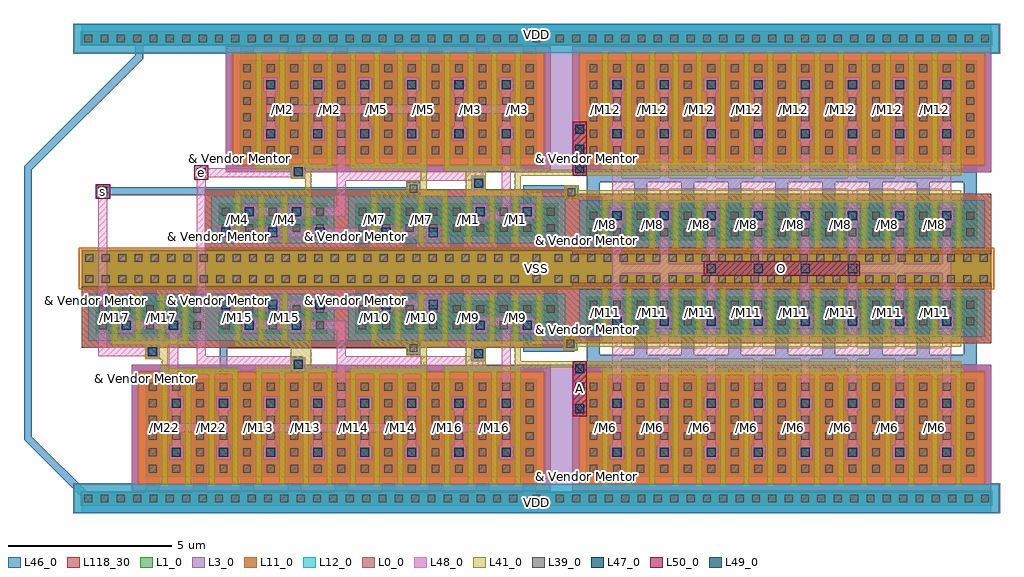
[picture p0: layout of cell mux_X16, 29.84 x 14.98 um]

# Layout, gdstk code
import gdstk
lib = gdstk.Library(unit=1e-6, precision=1e-09)
def R(c, l, rs):  # rectangles x0, y0, x1, y1
    for r in rs: c.add(gdstk.rectangle(r[:2], r[2:], *l))
def A(c, l, x, y, w, h, nx, ny, dx, dy):  # array of equal rectangles
    R(c, l, [(x+i*dx, y+j*dy, x+i*dx+w, y+j*dy+h) for i in range(nx) for j in range(ny)])
def P(c, l, *ps):  # polygons
    for p in ps: c.add(gdstk.Polygon(p, *l))
L0_0 = (0, 0)
L1_0 = (1, 0)
L3_0 = (3, 0)
L11_0 = (11, 0)
L12_0 = (12, 0)
L39_0 = (39, 0)
L41_0 = (41, 0)
L46_0 = (46, 0)
L47_0 = (47, 0)
L48_0 = (48, 0)
L49_0 = (49, 0)
L50_0 = (50, 0)
L118_30 = (118, 30)

m1m2 = lib.new_cell('M1M2')
R(m1m2, L46_0, [(-0.22,-0.22,0.22,0.22)])
R(m1m2, L47_0, [(-0.14,-0.14,0.14,0.14)])
R(m1m2, L48_0, [(-0.22,-0.22,0.22,0.22)])

m2m3 = lib.new_cell('M2M3')
R(m2m3, L48_0, [(-0.22,-0.22,0.22,0.22)])
R(m2m3, L49_0, [(-0.14,-0.14,0.14,0.14)])
R(m2m3, L50_0, [(-0.22,-0.22,0.22,0.22)])

mpoly = lib.new_cell('MPOLY')
R(mpoly, L39_0, [(-0.12,-0.12,0.12,0.12)])
R(mpoly, L41_0, [(-0.22,-0.22,0.22,0.22)])
R(mpoly, L46_0, [(-0.2,-0.2,0.2,0.2)])

mux_x16 = lib.new_cell('mux_X16')
R(mux_x16, L0_0, [(-9.17,-9.36,-4.99,-7.5), (-5.41,-9.36,-1.23,-7.5), (-1.23,-9.36,5.83,-7.5), (5.83,-9.23,18.65,-7.37), (5.83,-6.51,18.65,-4.65), (-5.41,-6.38,-1.23,-4.52), (-1.23,-6.38,5.83,-4.52)])
R(mux_x16, L1_0, [(-9.19,-14.19,18.67,-13.75), (-7.21,-13.31,-6.72,-10.31), (-7.21,-13.31,4.75,-10.31), (4.26,-13.31,4.75,-10.31), (6.26,-13.31,6.75,-10.31), (6.26,-13.31,18.22,-10.31), (17.73,-13.31,18.22,-10.31), (-8.74,-8.93,-8.25,-7.93), (-8.74,-8.93,-5.42,-7.93), (-5.91,-8.93,-5.42,-7.93), (-4.98,-8.93,-4.49,-7.93), (-4.98,-8.93,-1.66,-7.93), (-2.15,-8.93,-1.66,-7.93), (-0.8,-8.93,-0.31,-7.93), (-0.8,-8.93,5.4,-7.93), (4.91,-8.93,5.4,-7.93), (6.26,-8.8,18.22,-7.8), (6.26,-8.8,6.75,-7.8), (17.73,-8.8,18.22,-7.8), (-9.15,-7.48,18.63,-7.04), (-9.15,-7.04,18.63,-6.84), (-9.15,-6.84,18.63,-6.4), (6.26,-6.08,18.22,-5.08), (6.26,-6.08,6.75,-5.08), (17.73,-6.08,18.22,-5.08), (-4.98,-5.95,-4.49,-4.95), (-4.98,-5.95,-1.66,-4.95), (-2.15,-5.95,-1.66,-4.95), (-0.8,-5.95,-0.31,-4.95), (-0.8,-5.95,5.4,-4.95), (4.91,-5.95,5.4,-4.95), (-4.33,-3.57,4.75,-0.57), (-4.33,-3.57,-3.84,-0.57), (4.26,-3.57,4.75,-0.57), (6.26,-3.57,6.75,-0.57), (6.26,-3.57,18.22,-0.57), (17.73,-3.57,18.22,-0.57), (-9.19,-0.13,18.67,0.31)])
R(mux_x16, L3_0, [(-9.43,-14.43,18.91,-13.51), (-7.64,-13.74,5.18,-9.88), (5.18,-13.74,5.83,-9.88), (5.83,-13.74,18.65,-9.88), (-4.76,-4,5.18,-0.14), (5.18,-4,5.83,-0.14), (5.83,-4,18.65,-0.14), (-9.43,-0.37,18.91,0.55)])
R(mux_x16, L11_0, [(-7.43,-13.53,4.97,-10.09), (6.04,-13.53,18.44,-10.09), (-9.25,-7.58,18.73,-6.94), (-9.25,-6.94,18.73,-6.3), (-4.55,-3.79,4.97,-0.35), (6.04,-3.79,18.44,-0.35)])
R(mux_x16, L12_0, [(-9.41,-14.41,18.89,-13.53), (-8.96,-9.15,-5.2,-7.71), (-5.2,-9.15,-1.44,-7.71), (-1.02,-9.15,5.62,-7.71), (6.04,-9.02,18.44,-7.58), (6.04,-6.3,18.44,-4.86), (-5.2,-6.17,-1.44,-4.73), (-1.02,-6.17,5.62,-4.73), (-9.41,-0.35,18.89,0.53)])
A(mux_x16, L39_0, -9.09, -14.09, 0.24, 0.24, 27, 2, 0.5, 14.06)
A(mux_x16, L39_0, 5.33, -14.09, 0.24, 0.24, 27, 2, 0.5, 14.06)
A(mux_x16, L39_0, -7.11, -13.18, 0.24, 0.24, 17, 6, 0.72, 0.5)
A(mux_x16, L39_0, 6.36, -13.18, 0.24, 0.24, 17, 6, 0.72, 0.5)
A(mux_x16, L39_0, -8.64, -8.8, 0.24, 0.24, 5, 2, 0.72, 0.5)
A(mux_x16, L39_0, -4.88, -8.8, 0.24, 0.24, 5, 2, 0.72, 0.5)
A(mux_x16, L39_0, -0.7, -8.8, 0.24, 0.24, 9, 2, 0.72, 0.5)
A(mux_x16, L39_0, 6.36, -8.67, 0.24, 0.24, 17, 2, 0.72, 0.5)
A(mux_x16, L39_0, -9.05, -7.38, 0.24, 0.24, 27, 2, 0.5, 0.64)
A(mux_x16, L39_0, 5.29, -7.38, 0.24, 0.24, 27, 2, 0.5, 0.64)
A(mux_x16, L39_0, 6.36, -5.95, 0.24, 0.24, 17, 2, 0.72, 0.5)
A(mux_x16, L39_0, -4.88, -5.82, 0.24, 0.24, 5, 2, 0.72, 0.5)
A(mux_x16, L39_0, -0.7, -5.82, 0.24, 0.24, 9, 2, 0.72, 0.5)
A(mux_x16, L39_0, -4.23, -3.44, 0.24, 0.24, 13, 6, 0.72, 0.5)
A(mux_x16, L39_0, 6.36, -3.44, 0.24, 0.24, 17, 6, 0.72, 0.5)
R(mux_x16, L39_0, [(4.62,-14.09,4.86,-13.85), (4.62,-7.38,4.86,-7.14), (4.62,-6.74,4.86,-6.5), (4.62,-0.03,4.86,0.21)])
A(mux_x16, L41_0, -6.72, -13.53, 0.18, 0.22, 16, 2, 0.72, 3.22)
A(mux_x16, L41_0, 6.75, -13.53, 0.18, 0.22, 16, 2, 0.72, 3.22)
A(mux_x16, L41_0, -6.72, -13.31, 0.18, 3, 16, 1, 0.72, 0)
A(mux_x16, L41_0, 6.75, -13.31, 0.18, 3, 16, 2, 0.72, 9.74)
A(mux_x16, L41_0, -8.25, -9.15, 0.18, 0.22, 4, 2, 0.72, 1.22)
A(mux_x16, L41_0, -4.49, -9.15, 0.18, 0.22, 4, 2, 0.72, 1.22)
A(mux_x16, L41_0, -0.31, -9.15, 0.18, 0.22, 8, 2, 0.72, 1.22)
A(mux_x16, L41_0, 6.75, -9.02, 0.18, 0.22, 16, 2, 0.72, 1.22)
A(mux_x16, L41_0, -8.25, -8.93, 0.18, 1, 4, 1, 0.72, 0)
A(mux_x16, L41_0, -4.49, -8.93, 0.18, 1, 4, 2, 0.72, 2.98)
A(mux_x16, L41_0, -0.31, -8.93, 0.18, 1, 8, 2, 0.72, 2.98)
A(mux_x16, L41_0, 6.75, -8.8, 0.18, 1, 16, 2, 0.72, 2.72)
A(mux_x16, L41_0, 6.75, -6.3, 0.18, 0.22, 16, 2, 0.72, 1.22)
A(mux_x16, L41_0, -4.49, -6.17, 0.18, 0.22, 4, 2, 0.72, 1.22)
A(mux_x16, L41_0, -0.31, -6.17, 0.18, 0.22, 8, 2, 0.72, 1.22)
A(mux_x16, L41_0, -3.84, -3.79, 0.18, 0.22, 12, 2, 0.72, 3.22)
A(mux_x16, L41_0, 6.75, -3.79, 0.18, 0.22, 16, 2, 0.72, 3.22)
A(mux_x16, L41_0, -3.84, -3.57, 0.18, 3, 12, 1, 0.72, 0)
R(mux_x16, L41_0, [(6.93,-4.75,17.73,-4.55), (6.93,-4.1,17.73,-3.86)])
P(mux_x16, L41_0, [(5.69,-9.33),(17.73,-9.33),(17.73,-8.88),(17.55,-8.88),(17.55,-8.95),(17.01,-8.95),(17.01,-8.88),(16.83,-8.88),(16.83,-8.95),(16.29,-8.95),(16.29,-8.88),(16.11,-8.88),(16.11,-8.95),(15.57,-8.95),(15.57,-8.88),(15.39,-8.88),(15.39,-8.95),(14.85,-8.95),(14.85,-8.88),(14.67,-8.88),(14.67,-8.95),(14.13,-8.95),(14.13,-8.88),(13.95,-8.88),(13.95,-8.95),(13.41,-8.95),(13.41,-8.88),(13.23,-8.88),(13.23,-8.95),(12.69,-8.95),(12.69,-8.88),(12.51,-8.88),(12.51,-8.95),(11.97,-8.95),(11.97,-8.88),(11.79,-8.88),(11.79,-8.95),(11.25,-8.95),(11.25,-8.88),(11.07,-8.88),(11.07,-8.95),(10.53,-8.95),(10.53,-8.88),(10.35,-8.88),(10.35,-8.95),(9.81,-8.95),(9.81,-8.88),(9.63,-8.88),(9.63,-8.95),(9.09,-8.95),(9.09,-8.88),(8.91,-8.88),(8.91,-8.95),(8.37,-8.95),(8.37,-8.88),(8.19,-8.88),(8.19,-8.95),(7.65,-8.95),(7.65,-8.88),(7.47,-8.88),(7.47,-8.95),(6.93,-8.95),(6.93,-8.88),(6.75,-8.88),(6.75,-9.15),(5.69,-9.15)],
  [(6.75,-5),(6.93,-5),(6.93,-4.93),(7.47,-4.93),(7.47,-5),(7.65,-5),(7.65,-4.93),(8.19,-4.93),(8.19,-5),(8.37,-5),(8.37,-4.93),(8.91,-4.93),(8.91,-5),(9.09,-5),(9.09,-4.93),(9.63,-4.93),(9.63,-5),(9.81,-5),(9.81,-4.93),(10.35,-4.93),(10.35,-5),(10.53,-5),(10.53,-4.93),(11.07,-4.93),(11.07,-5),(11.25,-5),(11.25,-4.93),(11.79,-4.93),(11.79,-5),(11.97,-5),(11.97,-4.93),(12.51,-4.93),(12.51,-5),(12.69,-5),(12.69,-4.93),(13.23,-4.93),(13.23,-5),(13.41,-5),(13.41,-4.93),(13.95,-4.93),(13.95,-5),(14.13,-5),(14.13,-4.93),(14.67,-4.93),(14.67,-5),(14.85,-5),(14.85,-4.93),(15.39,-4.93),(15.39,-5),(15.57,-5),(15.57,-4.93),(16.11,-4.93),(16.11,-5),(16.29,-5),(16.29,-4.93),(16.83,-4.93),(16.83,-5),(17.01,-5),(17.01,-4.93),(17.55,-4.93),(17.55,-5),(17.73,-5),(17.73,-4.75),(6.75,-4.75)],
  [(1.92,-10.19),(2.1,-10.19),(2.1,-10.09),(2.64,-10.09),(2.64,-10.19),(2.82,-10.19),(2.82,-10.09),(3.36,-10.09),(3.36,-10.19),(3.54,-10.19),(3.54,-10.09),(4.08,-10.09),(4.08,-10.27),(4.26,-10.27),(4.26,-9.96),(6.75,-9.96),(6.75,-10.27),(6.93,-10.27),(6.93,-10.2),(7.47,-10.2),(7.47,-10.27),(7.65,-10.27),(7.65,-10.2),(8.19,-10.2),(8.19,-10.27),(8.37,-10.27),(8.37,-10.2),(8.91,-10.2),(8.91,-10.27),(9.09,-10.27),(9.09,-10.2),(9.63,-10.2),(9.63,-10.27),(9.81,-10.27),(9.81,-10.2),(10.35,-10.2),(10.35,-10.27),(10.53,-10.27),(10.53,-10.2),(11.07,-10.2),(11.07,-10.27),(11.25,-10.27),(11.25,-10.2),(11.79,-10.2),(11.79,-10.27),(11.97,-10.27),(11.97,-10.2),(12.51,-10.2),(12.51,-10.27),(12.69,-10.27),(12.69,-10.2),(13.23,-10.2),(13.23,-10.27),(13.41,-10.27),(13.41,-10.2),(13.95,-10.2),(13.95,-10.27),(14.13,-10.27),(14.13,-10.2),(14.67,-10.2),(14.67,-10.27),(14.85,-10.27),(14.85,-10.2),(15.39,-10.2),(15.39,-10.27),(15.57,-10.27),(15.57,-10.2),(16.11,-10.2),(16.11,-10.27),(16.29,-10.27),(16.29,-10.2),(16.83,-10.2),(16.83,-10.27),(17.01,-10.27),(17.01,-10.2),(17.55,-10.2),(17.55,-10.27),(17.73,-10.27),(17.73,-9.78),(4.26,-9.78),(4.26,-9.33),(4.91,-9.33),(4.91,-9.05),(4.73,-9.05),(4.73,-9.15),(4.19,-9.15),(4.19,-9.05),(4.08,-9.05),(4.08,-9.91),(3.19,-9.91),(3.19,-9.77),(2.75,-9.77),(2.75,-9.33),(4.08,-9.33),(4.08,-9.05),(4.01,-9.05),(4.01,-9.15),(3.47,-9.15),(3.47,-9.05),(3.29,-9.05),(3.29,-9.15),(2.75,-9.15),(2.75,-9.05),(2.57,-9.05),(2.57,-9.91),(1.92,-9.91)],
  [(6.75,-3.86),(17.73,-3.86),(17.73,-3.61),(17.55,-3.61),(17.55,-3.68),(17.01,-3.68),(17.01,-3.61),(16.83,-3.61),(16.83,-3.68),(16.29,-3.68),(16.29,-3.61),(16.11,-3.61),(16.11,-3.68),(15.57,-3.68),(15.57,-3.61),(15.39,-3.61),(15.39,-3.68),(14.85,-3.68),(14.85,-3.61),(14.67,-3.61),(14.67,-3.68),(14.13,-3.68),(14.13,-3.61),(13.95,-3.61),(13.95,-3.68),(13.41,-3.68),(13.41,-3.61),(13.23,-3.61),(13.23,-3.68),(12.69,-3.68),(12.69,-3.61),(12.51,-3.61),(12.51,-3.68),(11.97,-3.68),(11.97,-3.61),(11.79,-3.61),(11.79,-3.68),(11.25,-3.68),(11.25,-3.61),(11.07,-3.61),(11.07,-3.68),(10.53,-3.68),(10.53,-3.61),(10.35,-3.61),(10.35,-3.68),(9.81,-3.68),(9.81,-3.61),(9.63,-3.61),(9.63,-3.68),(9.09,-3.68),(9.09,-3.61),(8.91,-3.61),(8.91,-3.68),(8.37,-3.68),(8.37,-3.61),(8.19,-3.61),(8.19,-3.68),(7.65,-3.68),(7.65,-3.61),(7.47,-3.61),(7.47,-3.68),(6.93,-3.68),(6.93,-3.61),(6.75,-3.61)],
  [(-0.96,-10.27),(-0.78,-10.27),(-0.78,-10.16),(-0.24,-10.16),(-0.24,-10.27),(-0.06,-10.27),(-0.06,-10.16),(0.48,-10.16),(0.48,-10.27),(0.66,-10.27),(0.66,-10.16),(1.2,-10.16),(1.2,-10.27),(1.38,-10.27),(1.38,-9.33),(2.03,-9.33),(2.03,-9.06),(1.85,-9.06),(1.85,-9.15),(1.31,-9.15),(1.31,-9.06),(1.13,-9.06),(1.13,-9.15),(0.59,-9.15),(0.59,-9.06),(0.41,-9.06),(0.41,-9.15),(-0.13,-9.15),(-0.13,-9.06),(-0.31,-9.06),(-0.31,-9.33),(1.2,-9.33),(1.2,-9.98),(-0.96,-9.98)],
  [(-4.49,-9.33),(-2.77,-9.33),(-2.77,-9.97),(-3.84,-9.97),(-3.84,-10.27),(-3.66,-10.27),(-3.66,-10.15),(-3.12,-10.15),(-3.12,-10.27),(-2.94,-10.27),(-2.94,-10.15),(-2.4,-10.15),(-2.4,-10.27),(-2.22,-10.27),(-2.22,-10.15),(-1.68,-10.15),(-1.68,-10.27),(-1.5,-10.27),(-1.5,-9.97),(-2.15,-9.97),(-2.15,-9.06),(-2.33,-9.06),(-2.33,-9.15),(-2.87,-9.15),(-2.87,-9.06),(-3.05,-9.06),(-3.05,-9.15),(-3.59,-9.15),(-3.59,-9.06),(-3.77,-9.06),(-3.77,-9.15),(-4.31,-9.15),(-4.31,-9.06),(-4.49,-9.06)],
  [(-8.25,-9.27),(-6.78,-9.27),(-6.78,-9.71),(-6.72,-9.71),(-6.72,-10.27),(-6.54,-10.27),(-6.54,-10.17),(-6,-10.17),(-6,-10.27),(-5.82,-10.27),(-5.82,-10.17),(-5.28,-10.17),(-5.28,-10.27),(-5.1,-10.27),(-5.1,-10.17),(-4.56,-10.17),(-4.56,-10.27),(-4.38,-10.27),(-4.38,-9.99),(-6.54,-9.99),(-6.54,-9.27),(-5.91,-9.27),(-5.91,-8.97),(-6.09,-8.97),(-6.09,-9.09),(-6.63,-9.09),(-6.63,-8.97),(-6.81,-8.97),(-6.81,-9.09),(-7.35,-9.09),(-7.35,-8.97),(-7.53,-8.97),(-7.53,-9.09),(-8.07,-9.09),(-8.07,-8.97),(-8.25,-8.97)],
  [(5.69,-4.73),(6.75,-4.73),(6.75,-4.93),(6.93,-4.93),(6.93,-4.55),(5.69,-4.55)],
  [(1.92,-3.97),(2.57,-3.97),(2.57,-4.83),(2.75,-4.83),(2.75,-4.73),(3.29,-4.73),(3.29,-4.83),(3.47,-4.83),(3.47,-4.73),(4.01,-4.73),(4.01,-4.83),(4.19,-4.83),(4.19,-4.73),(4.73,-4.73),(4.73,-4.83),(4.91,-4.83),(4.91,-4.55),(4.26,-4.55),(4.26,-4.1),(6.93,-4.1),(6.93,-3.68),(6.75,-3.68),(6.75,-3.92),(4.26,-3.92),(4.26,-3.61),(4.08,-3.61),(4.08,-4.55),(2.75,-4.55),(2.75,-4.11),(3.19,-4.11),(3.19,-3.97),(4.08,-3.97),(4.08,-3.79),(3.54,-3.79),(3.54,-3.69),(3.36,-3.69),(3.36,-3.79),(2.82,-3.79),(2.82,-3.69),(2.64,-3.69),(2.64,-3.79),(2.1,-3.79),(2.1,-3.69),(1.92,-3.69)],
  [(-4.49,-4.82),(-4.31,-4.82),(-4.31,-4.73),(-3.77,-4.73),(-3.77,-4.82),(-3.59,-4.82),(-3.59,-4.73),(-3.05,-4.73),(-3.05,-4.82),(-2.87,-4.82),(-2.87,-4.73),(-2.33,-4.73),(-2.33,-4.82),(-2.15,-4.82),(-2.15,-3.91),(-1.5,-3.91),(-1.5,-3.61),(-1.68,-3.61),(-1.68,-3.73),(-2.22,-3.73),(-2.22,-3.61),(-2.4,-3.61),(-2.4,-3.73),(-2.94,-3.73),(-2.94,-3.61),(-3.12,-3.61),(-3.12,-3.73),(-3.66,-3.73),(-3.66,-3.61),(-3.84,-3.61),(-3.84,-3.91),(-2.33,-3.91),(-2.33,-4.55),(-4.49,-4.55)],
  [(-0.96,-3.9),(1.2,-3.9),(1.2,-4.55),(-0.31,-4.55),(-0.31,-4.82),(-0.13,-4.82),(-0.13,-4.73),(0.41,-4.73),(0.41,-4.82),(0.59,-4.82),(0.59,-4.73),(1.13,-4.73),(1.13,-4.82),(1.31,-4.82),(1.31,-4.73),(1.85,-4.73),(1.85,-4.82),(2.03,-4.82),(2.03,-4.55),(1.38,-4.55),(1.38,-3.61),(1.2,-3.61),(1.2,-3.72),(0.66,-3.72),(0.66,-3.61),(0.48,-3.61),(0.48,-3.72),(-0.06,-3.72),(-0.06,-3.61),(-0.24,-3.61),(-0.24,-3.72),(-0.78,-3.72),(-0.78,-3.61),(-0.96,-3.61)])
A(mux_x16, L46_0, -7.19, -14.17, 0.4, 1.31, 9, 1, 1.44, 0)
A(mux_x16, L46_0, -7.19, -13.26, 0.4, 2.9, 17, 1, 0.72, 0)
A(mux_x16, L46_0, 6.28, -13.26, 0.4, 2.9, 17, 2, 0.72, 9.74)
A(mux_x16, L46_0, 9.16, -10.76, 0.4, 2.41, 7, 2, 1.44, 5.23)
A(mux_x16, L46_0, -8.72, -8.88, 0.4, 0.9, 5, 1, 0.72, 0)
A(mux_x16, L46_0, -4.96, -8.88, 0.4, 0.9, 5, 2, 0.72, 2.98)
A(mux_x16, L46_0, -0.78, -8.88, 0.4, 0.9, 9, 2, 0.72, 2.98)
A(mux_x16, L46_0, 6.28, -8.75, 0.4, 0.9, 17, 2, 0.72, 2.72)
A(mux_x16, L46_0, -8.72, -8.38, 0.4, 1.28, 3, 1, 1.44, 0)
A(mux_x16, L46_0, -0.78, -8.38, 0.4, 1.28, 5, 2, 1.44, 1.6)
A(mux_x16, L46_0, -4.31, -3.52, 0.4, 2.9, 13, 1, 0.72, 0)
A(mux_x16, L46_0, -4.31, -1.02, 0.4, 1.31, 7, 1, 1.44, 0)
R(mux_x16, L46_0, [(-9.17,-14.43,18.65,-13.77), (-9.17,-14.17,18.65,-13.77), (5.84,-11.01,6.28,-10.8), (6.28,-10.76,6.68,-9.58), (7.72,-10.76,8.12,-9.58), (5.84,-10.36,6.28,-10.22), (6.28,-9.98,18.2,-9.58), (6.28,-9.98,6.68,-8.35), (7.72,-9.98,8.12,-8.35), (-9.17,-7.5,18.65,-7.02), (-9.17,-7.5,18.65,-6.38), (-9.17,-6.86,18.65,-6.38), (6.28,-5.53,6.68,-3.9), (7.72,-5.53,8.12,-3.9), (-8.64,-4.7,1.1,-4.46), (6.28,-4.3,18.2,-3.9), (6.28,-4.3,6.68,-3.12), (7.72,-4.3,8.12,-3.12), (5.84,-3.66,6.28,-3.52), (5.84,-3.08,6.28,-2.9), (-9.17,-0.11,18.65,0.29), (-9.17,-0.11,18.65,0.55)])
P(mux_x16, L46_0, [(-10.93,-12.18),(-8.94,-14.17),(-8.77,-14),(-10.69,-12.08),(-10.69,-3.92),(-7.29,-0.52),(-7.29,0.13),(-7.53,0.13),(-7.53,-0.42),(-10.93,-3.82)],
  [(4.34,-9.49),(5.9,-9.49),(5.9,-9.25),(4.58,-9.25),(4.58,-8.56),(4.34,-8.56)],
  [(-4.95,-10.6),(-4.71,-10.6),(-4.71,-9.38),(0.78,-9.38),(0.78,-9.54),(1.02,-9.54),(1.02,-9.14),(-4.95,-9.14)],
  [(4.34,-5.32),(4.58,-5.32),(4.58,-4.63),(5.9,-4.63),(5.9,-4.39),(4.34,-4.39)])
A(mux_x16, L48_0, 7.06, -12.7, 0.28, 1.78, 8, 2, 1.44, 9.74)
A(mux_x16, L48_0, 7.06, -11.2, 0.28, 2.79, 8, 2, 1.44, 5.73)
A(mux_x16, L48_0, 7.06, -8.69, 0.28, 1.89, 8, 2, 1.44, 1.61)
A(mux_x16, L48_0, 7.06, -7.08, 1.72, 0.28, 7, 1, 1.44, 0)
R(mux_x16, L48_0, [(-6.41,-12.7,-6.13,-11.67), (-4.97,-12.7,-4.69,-11.67), (-6.41,-11.95,-4.69,-11.67), (-6.41,-11.95,-6.13,-10.92), (-4.97,-11.95,-4.69,-10.92), (5.84,-11.01,6.28,-10.8), (5.84,-10.36,6.28,-10.22), (7.06,-9.72,17.42,-9.37), (-7.94,-8.82,-6.22,-8.54), (-4.9,-8.18,1.72,-7.9), (-4.9,-5.98,1.72,-5.7), (7.06,-4.51,17.42,-4.16), (5.84,-3.66,6.28,-3.52), (5.84,-3.08,6.28,-2.9)])
P(mux_x16, L48_0, [(-8.66,-9.63),(-6.8,-9.63),(-6.8,-9.35),(-8.38,-9.35),(-8.38,-4.44),(-8.66,-4.44)],
  [(-5.65,-9.9),(-2.41,-9.9),(-2.41,-9.62),(-5.37,-9.62),(-5.37,-4.15),(-2.41,-4.15),(-2.41,-3.87),(-5.65,-3.87)],
  [(2.88,-8.69),(3.67,-8.69),(3.67,-11.2),(3.95,-11.2),(3.95,-8.69),(4.6,-8.69),(4.6,-8.41),(2.88,-8.41)],
  [(2.23,-12.7),(2.51,-12.7),(2.51,-11.95),(3.67,-11.95),(3.67,-12.7),(3.95,-12.7),(3.95,-10.92),(3.67,-10.92),(3.67,-11.67),(2.51,-11.67),(2.51,-10.92),(2.23,-10.92)],
  [(-4.18,-8.82),(-1.37,-8.82),(-1.37,-11.67),(-1.81,-11.67),(-1.81,-10.92),(-2.09,-10.92),(-2.09,-11.67),(-3.25,-11.67),(-3.25,-10.92),(-3.53,-10.92),(-3.53,-12.7),(-3.25,-12.7),(-3.25,-11.95),(-2.09,-11.95),(-2.09,-12.7),(-1.81,-12.7),(-1.81,-11.95),(-0.65,-11.95),(-0.65,-12.7),(-0.37,-12.7),(-0.37,-11.95),(0.79,-11.95),(0.79,-12.7),(1.07,-12.7),(1.07,-10.92),(0.79,-10.92),(0.79,-11.67),(-0.37,-11.67),(-0.37,-10.92),(-0.65,-10.92),(-0.65,-11.67),(-1.09,-11.67),(-1.09,-9.91),(3.11,-9.91),(3.11,-9.63),(-1.09,-9.63),(-1.09,-8.54),(-4.18,-8.54)],
  [(-6.5,-11.12),(-6.13,-11.12),(-6.13,-10.84),(-6.22,-10.84),(-6.22,-8.54),(-6.5,-8.54)],
  [(2.88,-5.47),(4.6,-5.47),(4.6,-5.19),(3.95,-5.19),(3.95,-2.68),(3.67,-2.68),(3.67,-5.19),(2.88,-5.19)],
  [(2.23,-2.96),(2.51,-2.96),(2.51,-2.21),(3.67,-2.21),(3.67,-2.96),(3.95,-2.96),(3.95,-1.18),(3.67,-1.18),(3.67,-1.93),(2.51,-1.93),(2.51,-1.18),(2.23,-1.18)],
  [(-4.18,-5.34),(-1.09,-5.34),(-1.09,-4.25),(3.11,-4.25),(3.11,-3.97),(-1.09,-3.97),(-1.09,-1.93),(-1.37,-1.93),(-1.37,-5.06),(-4.18,-5.06)],
  [(-3.53,-2.96),(-3.25,-2.96),(-3.25,-2.21),(-2.09,-2.21),(-2.09,-2.96),(-1.81,-2.96),(-1.81,-2.21),(-0.65,-2.21),(-0.65,-2.96),(-0.37,-2.96),(-0.37,-2.21),(0.79,-2.21),(0.79,-2.96),(1.07,-2.96),(1.07,-1.18),(0.79,-1.18),(0.79,-1.93),(-0.37,-1.93),(-0.37,-1.18),(-0.65,-1.18),(-0.65,-1.93),(-1.81,-1.93),(-1.81,-1.18),(-2.09,-1.18),(-2.09,-1.93),(-3.25,-1.93),(-3.25,-1.18),(-3.53,-1.18)])
R(mux_x16, L50_0, [(5.84,-11.45,6.28,-9.78), (5.84,-11.01,6.28,-10.8), (5.84,-10.36,6.28,-10.22), (9.86,-7.16,14.62,-6.72), (-8.74,-4.8,-8.3,-4.36), (-5.73,-4.23,-5.29,-3.79), (5.84,-4.1,6.28,-2.46), (5.84,-3.66,6.28,-3.52), (5.84,-3.08,6.28,-2.9)])
R(mux_x16, L118_30, [(-7.64,-13.74,5.18,-9.88), (5.83,-13.74,18.65,-9.88), (-9.17,-9.36,-4.99,-7.5), (-5.41,-9.36,-1.23,-7.5), (-1.23,-9.36,5.83,-7.5), (5.83,-9.23,18.65,-7.37), (5.83,-6.51,18.65,-4.65), (-5.41,-6.38,-1.23,-4.52), (-1.23,-6.38,5.83,-4.52), (-4.76,-4,5.18,-0.14), (5.83,-4,18.65,-0.14)])
mux_x16.add(gdstk.Reference(m1m2, (11.52,-1.32)))
mux_x16.add(gdstk.Reference(m1m2, (10.08,-1.32)))
mux_x16.add(gdstk.Reference(m1m2, (8.64,-2.82)))
mux_x16.add(gdstk.Reference(m1m2, (8.64,-1.32)))
mux_x16.add(gdstk.Reference(m1m2, (12.96,-1.32)))
mux_x16.add(gdstk.Reference(m1m2, (12.96,-5.33)))
mux_x16.add(gdstk.Reference(m1m2, (17.28,-5.33)))
mux_x16.add(gdstk.Reference(m1m2, (14.4,-5.33)))
mux_x16.add(gdstk.Reference(m1m2, (15.84,-5.33)))
mux_x16.add(gdstk.Reference(m1m2, (10.08,-5.33)))
mux_x16.add(gdstk.Reference(m1m2, (11.52,-5.33)))
mux_x16.add(gdstk.Reference(m2m3, (11.52,-6.94)))
mux_x16.add(gdstk.Reference(m2m3, (12.96,-6.94)))
mux_x16.add(gdstk.Reference(m2m3, (10.08,-6.94)))
mux_x16.add(gdstk.Reference(m2m3, (14.4,-6.94)))
mux_x16.add(gdstk.Reference(m1m2, (14.4,-8.55), x_reflection=True))
mux_x16.add(gdstk.Reference(m1m2, (15.84,-8.55), x_reflection=True))
mux_x16.add(gdstk.Reference(m1m2, (10.08,-8.55), x_reflection=True))
mux_x16.add(gdstk.Reference(m1m2, (12.96,-11.06), x_reflection=True))
mux_x16.add(gdstk.Reference(m1m2, (8.64,-8.55), x_reflection=True))
mux_x16.add(gdstk.Reference(m1m2, (8.64,-5.33)))
mux_x16.add(gdstk.Reference(m1m2, (12.96,-2.82)))
mux_x16.add(gdstk.Reference(m1m2, (17.28,-2.82)))
mux_x16.add(gdstk.Reference(m1m2, (17.28,-1.32)))
mux_x16.add(gdstk.Reference(m1m2, (15.84,-1.32)))
mux_x16.add(gdstk.Reference(m1m2, (14.4,-2.82)))
mux_x16.add(gdstk.Reference(m1m2, (14.4,-1.32)))
mux_x16.add(gdstk.Reference(m1m2, (15.84,-2.82)))
mux_x16.add(gdstk.Reference(m1m2, (10.08,-2.82)))
mux_x16.add(gdstk.Reference(m1m2, (11.52,-2.82)))
mux_x16.add(gdstk.Reference(m1m2, (17.28,-11.06), x_reflection=True))
mux_x16.add(gdstk.Reference(m1m2, (11.52,-11.06), x_reflection=True))
mux_x16.add(gdstk.Reference(m1m2, (11.52,-12.56), x_reflection=True))
mux_x16.add(gdstk.Reference(m1m2, (10.08,-12.56), x_reflection=True))
mux_x16.add(gdstk.Reference(m1m2, (11.52,-8.55), x_reflection=True))
mux_x16.add(gdstk.Reference(m1m2, (8.64,-11.06), x_reflection=True))
mux_x16.add(gdstk.Reference(m1m2, (15.84,-11.06), x_reflection=True))
mux_x16.add(gdstk.Reference(m1m2, (10.08,-11.06), x_reflection=True))
mux_x16.add(gdstk.Reference(m1m2, (17.28,-12.56), x_reflection=True))
mux_x16.add(gdstk.Reference(m1m2, (15.84,-12.56), x_reflection=True))
mux_x16.add(gdstk.Reference(m1m2, (14.4,-11.06), x_reflection=True))
mux_x16.add(gdstk.Reference(m1m2, (14.4,-12.56), x_reflection=True))
mux_x16.add(gdstk.Reference(m1m2, (8.64,-12.56), x_reflection=True))
mux_x16.add(gdstk.Reference(m1m2, (12.96,-12.56), x_reflection=True))
mux_x16.add(gdstk.Reference(m1m2, (17.28,-8.55), x_reflection=True))
mux_x16.add(gdstk.Reference(m1m2, (12.96,-8.55), x_reflection=True))
mux_x16.add(gdstk.Reference(m2m3, (6.06,-10)))
mux_x16.add(gdstk.Reference(m1m2, (6.06,-10.58)))
mux_x16.add(gdstk.Reference(m2m3, (6.06,-10.58)))
mux_x16.add(gdstk.Reference(m1m2, (6.06,-11.23)))
mux_x16.add(gdstk.Reference(mpoly, (5.78,-9.24), x_reflection=True))
mux_x16.add(gdstk.Reference(m1m2, (7.2,-11.06), x_reflection=True))
mux_x16.add(gdstk.Reference(m1m2, (6.06,-10)))
mux_x16.add(gdstk.Reference(m1m2, (7.2,-12.56), x_reflection=True))
mux_x16.add(gdstk.Reference(m2m3, (6.06,-11.23)))
mux_x16.add(gdstk.Reference(m1m2, (7.2,-8.55), x_reflection=True))
mux_x16.add(gdstk.Reference(m1m2, (3.81,-11.06), x_reflection=True))
mux_x16.add(gdstk.Reference(m1m2, (2.37,-12.56), x_reflection=True))
mux_x16.add(gdstk.Reference(m1m2, (4.46,-8.68), x_reflection=True))
mux_x16.add(gdstk.Reference(m1m2, (1.58,-8.04), x_reflection=True))
mux_x16.add(gdstk.Reference(m1m2, (3.81,-12.56), x_reflection=True))
mux_x16.add(gdstk.Reference(m1m2, (3.02,-8.68), x_reflection=True))
mux_x16.add(gdstk.Reference(m1m2, (2.97,-9.55), x_reflection=True))
mux_x16.add(gdstk.Reference(m1m2, (-0.51,-11.06), x_reflection=True))
mux_x16.add(gdstk.Reference(m1m2, (-4.83,-12.56), x_reflection=True))
mux_x16.add(gdstk.Reference(m1m2, (-6.27,-11.06), x_reflection=True))
mux_x16.add(gdstk.Reference(m1m2, (-6.27,-12.56), x_reflection=True))
mux_x16.add(gdstk.Reference(m1m2, (-4.83,-11.06), x_reflection=True))
mux_x16.add(gdstk.Reference(m1m2, (-7.8,-8.68), x_reflection=True))
mux_x16.add(gdstk.Reference(m1m2, (-6.36,-8.68), x_reflection=True))
mux_x16.add(gdstk.Reference(m1m2, (-0.51,-12.56), x_reflection=True))
mux_x16.add(gdstk.Reference(m1m2, (0.93,-12.56), x_reflection=True))
mux_x16.add(gdstk.Reference(m1m2, (-4.76,-8.04), x_reflection=True))
mux_x16.add(gdstk.Reference(m1m2, (0.93,-11.06), x_reflection=True))
mux_x16.add(gdstk.Reference(m1m2, (2.37,-11.06), x_reflection=True))
mux_x16.add(gdstk.Reference(m1m2, (-2.6,-8.68), x_reflection=True))
mux_x16.add(gdstk.Reference(m1m2, (-4.04,-8.68), x_reflection=True))
mux_x16.add(gdstk.Reference(m1m2, (0.14,-8.04), x_reflection=True))
mux_x16.add(gdstk.Reference(m1m2, (-1.88,-8.04), x_reflection=True))
mux_x16.add(gdstk.Reference(m1m2, (-3.32,-8.04), x_reflection=True))
mux_x16.add(gdstk.Reference(m1m2, (-7,-9.49)))
mux_x16.add(gdstk.Reference(m1m2, (-1.95,-12.56), x_reflection=True))
mux_x16.add(gdstk.Reference(m1m2, (-3.39,-12.56), x_reflection=True))
mux_x16.add(gdstk.Reference(m1m2, (-3.39,-11.06), x_reflection=True))
mux_x16.add(gdstk.Reference(m1m2, (-1.95,-11.06), x_reflection=True))
mux_x16.add(gdstk.Reference(m1m2, (2.97,-9.55), x_reflection=True))
mux_x16.add(gdstk.Reference(mpoly, (2.97,-9.55), x_reflection=True))
mux_x16.add(gdstk.Reference(mpoly, (-2.55,-9.87), x_reflection=True))
mux_x16.add(gdstk.Reference(mpoly, (-7,-9.49)))
mux_x16.add(gdstk.Reference(m1m2, (-2.55,-9.87)))
mux_x16.add(gdstk.Reference(mpoly, (0.98,-9.37)))
mux_x16.add(gdstk.Reference(m1m2, (-3.32,-5.84)))
mux_x16.add(gdstk.Reference(m1m2, (7.2,-5.33)))
mux_x16.add(gdstk.Reference(m1m2, (3.02,-5.2)))
mux_x16.add(gdstk.Reference(m1m2, (7.2,-2.82)))
mux_x16.add(gdstk.Reference(m1m2, (2.97,-4.33)))
mux_x16.add(gdstk.Reference(m1m2, (4.46,-5.2)))
mux_x16.add(gdstk.Reference(m1m2, (7.2,-1.32)))
mux_x16.add(gdstk.Reference(m1m2, (2.97,-4.33)))
mux_x16.add(gdstk.Reference(mpoly, (2.97,-4.33)))
mux_x16.add(gdstk.Reference(mpoly, (5.81,-4.61)))
mux_x16.add(gdstk.Reference(m1m2, (-1.95,-1.32)))
mux_x16.add(gdstk.Reference(m1m2, (-3.39,-1.32)))
mux_x16.add(gdstk.Reference(m1m2, (-3.39,-2.82)))
mux_x16.add(gdstk.Reference(m1m2, (-1.95,-2.82)))
mux_x16.add(gdstk.Reference(m1m2, (-0.51,-2.82)))
mux_x16.add(gdstk.Reference(m1m2, (-4.76,-5.84)))
mux_x16.add(gdstk.Reference(m1m2, (0.93,-2.82)))
mux_x16.add(gdstk.Reference(mpoly, (-2.55,-3.98)))
mux_x16.add(gdstk.Reference(m1m2, (-2.6,-5.2)))
mux_x16.add(gdstk.Reference(m1m2, (-4.04,-5.2)))
mux_x16.add(gdstk.Reference(m1m2, (1.58,-5.84)))
mux_x16.add(gdstk.Reference(m1m2, (6.06,-3.88)))
mux_x16.add(gdstk.Reference(m2m3, (6.06,-3.88)))
mux_x16.add(gdstk.Reference(m1m2, (6.06,-3.3)))
mux_x16.add(gdstk.Reference(m2m3, (6.06,-3.3)))
mux_x16.add(gdstk.Reference(m1m2, (6.06,-2.68)))
mux_x16.add(gdstk.Reference(m2m3, (6.06,-2.68)))
mux_x16.add(gdstk.Reference(m1m2, (0.14,-5.84)))
mux_x16.add(gdstk.Reference(m1m2, (-1.88,-5.84)))
mux_x16.add(gdstk.Reference(m1m2, (3.81,-1.32)))
mux_x16.add(gdstk.Reference(m1m2, (-0.51,-1.32)))
mux_x16.add(gdstk.Reference(m1m2, (0.93,-1.32)))
mux_x16.add(gdstk.Reference(m1m2, (2.37,-2.82)))
mux_x16.add(gdstk.Reference(m1m2, (3.81,-2.82)))
mux_x16.add(gdstk.Reference(m1m2, (2.37,-1.32)))
mux_x16.add(gdstk.Reference(mpoly, (0.98,-4.5)))
mux_x16.add(gdstk.Reference(m1m2, (-8.52,-4.58)))
mux_x16.add(gdstk.Reference(m1m2, (-2.55,-3.98)))
mux_x16.add(gdstk.Reference(m2m3, (-5.51,-4.01)))
mux_x16.add(gdstk.Reference(m2m3, (-8.52,-4.58)))
mux_x16.add(gdstk.Label('/M2', (-3.03,-2.07), layer=85, texttype=0))
mux_x16.add(gdstk.Label('/M2', (-3.75,-2.07), layer=85, texttype=0))
mux_x16.add(gdstk.Label('/M2', (-2.31,-2.07), layer=85, texttype=0))
mux_x16.add(gdstk.Label('/M2', (-1.59,-2.07), layer=85, texttype=0))
mux_x16.add(gdstk.Label('/M5', (-0.87,-2.07), layer=85, texttype=0))
mux_x16.add(gdstk.Label('/M5', (-0.15,-2.07), layer=85, texttype=0))
mux_x16.add(gdstk.Label('/M5', (0.57,-2.07), layer=85, texttype=0))
mux_x16.add(gdstk.Label('/M5', (1.29,-2.07), layer=85, texttype=0))
mux_x16.add(gdstk.Label('/M3', (2.01,-2.07), layer=85, texttype=0))
mux_x16.add(gdstk.Label('/M3', (2.73,-2.07), layer=85, texttype=0))
mux_x16.add(gdstk.Label('/M3', (3.45,-2.07), layer=85, texttype=0))
mux_x16.add(gdstk.Label('/M3', (4.17,-2.07), layer=85, texttype=0))
mux_x16.add(gdstk.Label('& Vendor Mentor', (-4.33,-3.57), layer=63, texttype=63))
mux_x16.add(gdstk.Label('& Product UMC180FDKMFM', (-4.33,-3.57), layer=63, texttype=63))
mux_x16.add(gdstk.Label('& Version A01', (-4.33,-3.57), layer=63, texttype=63))
mux_x16.add(gdstk.Label('& Metric 0', (-4.33,-3.57), layer=63, texttype=63))
mux_x16.add(gdstk.Label('& _PublicCode', (-4.33,-3.57), layer=63, texttype=63))
mux_x16.add(gdstk.Label('/M12', (6.84,-2.07), layer=85, texttype=0))
mux_x16.add(gdstk.Label('/M12', (7.56,-2.07), layer=85, texttype=0))
mux_x16.add(gdstk.Label('/M12', (8.28,-2.07), layer=85, texttype=0))
mux_x16.add(gdstk.Label('/M12', (9,-2.07), layer=85, texttype=0))
mux_x16.add(gdstk.Label('/M12', (9.72,-2.07), layer=85, texttype=0))
mux_x16.add(gdstk.Label('/M12', (10.44,-2.07), layer=85, texttype=0))
mux_x16.add(gdstk.Label('/M12', (11.16,-2.07), layer=85, texttype=0))
mux_x16.add(gdstk.Label('/M12', (11.88,-2.07), layer=85, texttype=0))
mux_x16.add(gdstk.Label('/M12', (12.6,-2.07), layer=85, texttype=0))
mux_x16.add(gdstk.Label('/M12', (13.32,-2.07), layer=85, texttype=0))
mux_x16.add(gdstk.Label('/M12', (14.04,-2.07), layer=85, texttype=0))
mux_x16.add(gdstk.Label('/M12', (14.76,-2.07), layer=85, texttype=0))
mux_x16.add(gdstk.Label('/M12', (15.48,-2.07), layer=85, texttype=0))
mux_x16.add(gdstk.Label('/M12', (16.2,-2.07), layer=85, texttype=0))
mux_x16.add(gdstk.Label('/M12', (16.92,-2.07), layer=85, texttype=0))
mux_x16.add(gdstk.Label('/M12', (17.64,-2.07), layer=85, texttype=0))
mux_x16.add(gdstk.Label('& Vendor Mentor', (6.26,-3.57), layer=63, texttype=63))
mux_x16.add(gdstk.Label('& Product UMC180FDKMFM', (6.26,-3.57), layer=63, texttype=63))
mux_x16.add(gdstk.Label('& Version A01', (6.26,-3.57), layer=63, texttype=63))
mux_x16.add(gdstk.Label('& Metric 0', (6.26,-3.57), layer=63, texttype=63))
mux_x16.add(gdstk.Label('& _PublicCode', (6.26,-3.57), layer=63, texttype=63))
mux_x16.add(gdstk.Label('/M11', (6.84,-8.3), layer=85, texttype=0))
mux_x16.add(gdstk.Label('/M11', (7.56,-8.3), layer=85, texttype=0))
mux_x16.add(gdstk.Label('/M11', (8.28,-8.3), layer=85, texttype=0))
mux_x16.add(gdstk.Label('/M11', (9,-8.3), layer=85, texttype=0))
mux_x16.add(gdstk.Label('/M11', (9.72,-8.3), layer=85, texttype=0))
mux_x16.add(gdstk.Label('/M11', (10.44,-8.3), layer=85, texttype=0))
mux_x16.add(gdstk.Label('/M11', (11.16,-8.3), layer=85, texttype=0))
mux_x16.add(gdstk.Label('/M11', (11.88,-8.3), layer=85, texttype=0))
mux_x16.add(gdstk.Label('/M11', (12.6,-8.3), layer=85, texttype=0))
mux_x16.add(gdstk.Label('/M11', (13.32,-8.3), layer=85, texttype=0))
mux_x16.add(gdstk.Label('/M11', (14.04,-8.3), layer=85, texttype=0))
mux_x16.add(gdstk.Label('/M11', (14.76,-8.3), layer=85, texttype=0))
mux_x16.add(gdstk.Label('/M11', (15.48,-8.3), layer=85, texttype=0))
mux_x16.add(gdstk.Label('/M11', (16.2,-8.3), layer=85, texttype=0))
mux_x16.add(gdstk.Label('/M11', (16.92,-8.3), layer=85, texttype=0))
mux_x16.add(gdstk.Label('/M11', (17.64,-8.3), layer=85, texttype=0))
mux_x16.add(gdstk.Label('& Vendor Mentor', (6.26,-8.8), layer=63, texttype=63))
mux_x16.add(gdstk.Label('& Product UMC180FDKMFM', (6.26,-8.8), layer=63, texttype=63))
mux_x16.add(gdstk.Label('& Version A01', (6.26,-8.8), layer=63, texttype=63))
mux_x16.add(gdstk.Label('& Metric 0', (6.26,-8.8), layer=63, texttype=63))
mux_x16.add(gdstk.Label('& _PublicCode', (6.26,-8.8), layer=63, texttype=63))
mux_x16.add(gdstk.Label('/M8', (8.28,-5.58), layer=85, texttype=0))
mux_x16.add(gdstk.Label('/M8', (7.56,-5.58), layer=85, texttype=0))
mux_x16.add(gdstk.Label('/M8', (6.84,-5.58), layer=85, texttype=0))
mux_x16.add(gdstk.Label('/M8', (9,-5.58), layer=85, texttype=0))
mux_x16.add(gdstk.Label('/M8', (9.72,-5.58), layer=85, texttype=0))
mux_x16.add(gdstk.Label('/M8', (10.44,-5.58), layer=85, texttype=0))
mux_x16.add(gdstk.Label('/M8', (11.16,-5.58), layer=85, texttype=0))
mux_x16.add(gdstk.Label('/M8', (11.88,-5.58), layer=85, texttype=0))
mux_x16.add(gdstk.Label('/M8', (12.6,-5.58), layer=85, texttype=0))
mux_x16.add(gdstk.Label('/M8', (13.32,-5.58), layer=85, texttype=0))
mux_x16.add(gdstk.Label('/M8', (14.04,-5.58), layer=85, texttype=0))
mux_x16.add(gdstk.Label('/M8', (14.76,-5.58), layer=85, texttype=0))
mux_x16.add(gdstk.Label('/M8', (15.48,-5.58), layer=85, texttype=0))
mux_x16.add(gdstk.Label('/M8', (16.2,-5.58), layer=85, texttype=0))
mux_x16.add(gdstk.Label('/M8', (16.92,-5.58), layer=85, texttype=0))
mux_x16.add(gdstk.Label('/M8', (17.64,-5.58), layer=85, texttype=0))
mux_x16.add(gdstk.Label('& Vendor Mentor', (6.26,-6.08), layer=63, texttype=63))
mux_x16.add(gdstk.Label('& Product UMC180FDKMFM', (6.26,-6.08), layer=63, texttype=63))
mux_x16.add(gdstk.Label('& Version A01', (6.26,-6.08), layer=63, texttype=63))
mux_x16.add(gdstk.Label('& Metric 0', (6.26,-6.08), layer=63, texttype=63))
mux_x16.add(gdstk.Label('& _PublicCode', (6.26,-6.08), layer=63, texttype=63))
mux_x16.add(gdstk.Label('/M6', (6.84,-11.81), layer=85, texttype=0))
mux_x16.add(gdstk.Label('/M6', (7.56,-11.81), layer=85, texttype=0))
mux_x16.add(gdstk.Label('/M6', (8.28,-11.81), layer=85, texttype=0))
mux_x16.add(gdstk.Label('/M6', (9,-11.81), layer=85, texttype=0))
mux_x16.add(gdstk.Label('/M6', (9.72,-11.81), layer=85, texttype=0))
mux_x16.add(gdstk.Label('/M6', (10.44,-11.81), layer=85, texttype=0))
mux_x16.add(gdstk.Label('/M6', (11.16,-11.81), layer=85, texttype=0))
mux_x16.add(gdstk.Label('/M6', (11.88,-11.81), layer=85, texttype=0))
mux_x16.add(gdstk.Label('/M6', (12.6,-11.81), layer=85, texttype=0))
mux_x16.add(gdstk.Label('/M6', (13.32,-11.81), layer=85, texttype=0))
mux_x16.add(gdstk.Label('/M6', (14.04,-11.81), layer=85, texttype=0))
mux_x16.add(gdstk.Label('/M6', (14.76,-11.81), layer=85, texttype=0))
mux_x16.add(gdstk.Label('/M6', (15.48,-11.81), layer=85, texttype=0))
mux_x16.add(gdstk.Label('/M6', (16.2,-11.81), layer=85, texttype=0))
mux_x16.add(gdstk.Label('/M6', (16.92,-11.81), layer=85, texttype=0))
mux_x16.add(gdstk.Label('/M6', (17.64,-11.81), layer=85, texttype=0))
mux_x16.add(gdstk.Label('& Vendor Mentor', (6.26,-13.31), layer=63, texttype=63))
mux_x16.add(gdstk.Label('& Product UMC180FDKMFM', (6.26,-13.31), layer=63, texttype=63))
mux_x16.add(gdstk.Label('& Version A01', (6.26,-13.31), layer=63, texttype=63))
mux_x16.add(gdstk.Label('& Metric 0', (6.26,-13.31), layer=63, texttype=63))
mux_x16.add(gdstk.Label('& _PublicCode', (6.26,-13.31), layer=63, texttype=63))
mux_x16.add(gdstk.Label('/M7', (-0.22,-5.45), layer=85, texttype=0))
mux_x16.add(gdstk.Label('/M7', (0.5,-5.45), layer=85, texttype=0))
mux_x16.add(gdstk.Label('/M7', (1.22,-5.45), layer=85, texttype=0))
mux_x16.add(gdstk.Label('/M7', (1.94,-5.45), layer=85, texttype=0))
mux_x16.add(gdstk.Label('/M1', (2.66,-5.45), layer=85, texttype=0))
mux_x16.add(gdstk.Label('/M1', (3.38,-5.45), layer=85, texttype=0))
mux_x16.add(gdstk.Label('/M1', (4.1,-5.45), layer=85, texttype=0))
mux_x16.add(gdstk.Label('/M1', (4.82,-5.45), layer=85, texttype=0))
mux_x16.add(gdstk.Label('& Vendor Mentor', (-0.8,-5.95), layer=63, texttype=63))
mux_x16.add(gdstk.Label('& Product UMC180FDKMFM', (-0.8,-5.95), layer=63, texttype=63))
mux_x16.add(gdstk.Label('& Version A01', (-0.8,-5.95), layer=63, texttype=63))
mux_x16.add(gdstk.Label('& Metric 0', (-0.8,-5.95), layer=63, texttype=63))
mux_x16.add(gdstk.Label('& _PublicCode', (-0.8,-5.95), layer=63, texttype=63))
mux_x16.add(gdstk.Label('/M4', (-2.96,-5.45), layer=85, texttype=0))
mux_x16.add(gdstk.Label('/M4', (-3.68,-5.45), layer=85, texttype=0))
mux_x16.add(gdstk.Label('/M4', (-4.4,-5.45), layer=85, texttype=0))
mux_x16.add(gdstk.Label('/M4', (-2.24,-5.45), layer=85, texttype=0))
mux_x16.add(gdstk.Label('& Vendor Mentor', (-4.98,-5.95), layer=63, texttype=63))
mux_x16.add(gdstk.Label('& Product UMC180FDKMFM', (-4.98,-5.95), layer=63, texttype=63))
mux_x16.add(gdstk.Label('& Version A01', (-4.98,-5.95), layer=63, texttype=63))
mux_x16.add(gdstk.Label('& Metric 0', (-4.98,-5.95), layer=63, texttype=63))
mux_x16.add(gdstk.Label('& _PublicCode', (-4.98,-5.95), layer=63, texttype=63))
mux_x16.add(gdstk.Label('/M22', (-6.63,-11.81), layer=85, texttype=0))
mux_x16.add(gdstk.Label('/M22', (-5.91,-11.81), layer=85, texttype=0))
mux_x16.add(gdstk.Label('/M22', (-5.19,-11.81), layer=85, texttype=0))
mux_x16.add(gdstk.Label('/M22', (-4.47,-11.81), layer=85, texttype=0))
mux_x16.add(gdstk.Label('/M13', (-3.75,-11.81), layer=85, texttype=0))
mux_x16.add(gdstk.Label('/M13', (-3.03,-11.81), layer=85, texttype=0))
mux_x16.add(gdstk.Label('/M13', (-2.31,-11.81), layer=85, texttype=0))
mux_x16.add(gdstk.Label('/M13', (-1.59,-11.81), layer=85, texttype=0))
mux_x16.add(gdstk.Label('/M14', (-0.87,-11.81), layer=85, texttype=0))
mux_x16.add(gdstk.Label('/M14', (-0.15,-11.81), layer=85, texttype=0))
mux_x16.add(gdstk.Label('/M14', (0.57,-11.81), layer=85, texttype=0))
mux_x16.add(gdstk.Label('/M14', (1.29,-11.81), layer=85, texttype=0))
mux_x16.add(gdstk.Label('/M16', (2.01,-11.81), layer=85, texttype=0))
mux_x16.add(gdstk.Label('/M16', (2.73,-11.81), layer=85, texttype=0))
mux_x16.add(gdstk.Label('/M16', (3.45,-11.81), layer=85, texttype=0))
mux_x16.add(gdstk.Label('/M16', (4.17,-11.81), layer=85, texttype=0))
mux_x16.add(gdstk.Label('& Vendor Mentor', (-7.21,-10.31), layer=63, texttype=63))
mux_x16.add(gdstk.Label('& Product UMC180FDKMFM', (-7.21,-10.31), layer=63, texttype=63))
mux_x16.add(gdstk.Label('& Version A01', (-7.21,-10.31), layer=63, texttype=63))
mux_x16.add(gdstk.Label('& Metric 0', (-7.21,-10.31), layer=63, texttype=63))
mux_x16.add(gdstk.Label('& _PublicCode', (-7.21,-10.31), layer=63, texttype=63))
mux_x16.add(gdstk.Label('/M10', (1.22,-8.43), layer=85, texttype=0))
mux_x16.add(gdstk.Label('/M10', (0.5,-8.43), layer=85, texttype=0))
mux_x16.add(gdstk.Label('/M10', (-0.22,-8.43), layer=85, texttype=0))
mux_x16.add(gdstk.Label('/M10', (1.94,-8.43), layer=85, texttype=0))
mux_x16.add(gdstk.Label('/M9', (2.66,-8.43), layer=85, texttype=0))
mux_x16.add(gdstk.Label('/M9', (3.38,-8.43), layer=85, texttype=0))
mux_x16.add(gdstk.Label('/M9', (4.1,-8.43), layer=85, texttype=0))
mux_x16.add(gdstk.Label('/M9', (4.82,-8.43), layer=85, texttype=0))
mux_x16.add(gdstk.Label('& Vendor Mentor', (-0.8,-7.93), layer=63, texttype=63))
mux_x16.add(gdstk.Label('& Product UMC180FDKMFM', (-0.8,-7.93), layer=63, texttype=63))
mux_x16.add(gdstk.Label('& Version A01', (-0.8,-7.93), layer=63, texttype=63))
mux_x16.add(gdstk.Label('& Metric 0', (-0.8,-7.93), layer=63, texttype=63))
mux_x16.add(gdstk.Label('& _PublicCode', (-0.8,-7.93), layer=63, texttype=63))
mux_x16.add(gdstk.Label('/M17', (-8.16,-8.43), layer=85, texttype=0))
mux_x16.add(gdstk.Label('/M17', (-7.44,-8.43), layer=85, texttype=0))
mux_x16.add(gdstk.Label('/M17', (-6.72,-8.43), layer=85, texttype=0))
mux_x16.add(gdstk.Label('/M17', (-6,-8.43), layer=85, texttype=0))
mux_x16.add(gdstk.Label('& Vendor Mentor', (-8.74,-7.93), layer=63, texttype=63))
mux_x16.add(gdstk.Label('& Product UMC180FDKMFM', (-8.74,-7.93), layer=63, texttype=63))
mux_x16.add(gdstk.Label('& Version A01', (-8.74,-7.93), layer=63, texttype=63))
mux_x16.add(gdstk.Label('& Metric 0', (-8.74,-7.93), layer=63, texttype=63))
mux_x16.add(gdstk.Label('& _PublicCode', (-8.74,-7.93), layer=63, texttype=63))
mux_x16.add(gdstk.Label('/M15', (-4.4,-8.43), layer=85, texttype=0))
mux_x16.add(gdstk.Label('/M15', (-3.68,-8.43), layer=85, texttype=0))
mux_x16.add(gdstk.Label('/M15', (-2.96,-8.43), layer=85, texttype=0))
mux_x16.add(gdstk.Label('/M15', (-2.24,-8.43), layer=85, texttype=0))
mux_x16.add(gdstk.Label('& Vendor Mentor', (-4.98,-7.93), layer=63, texttype=63))
mux_x16.add(gdstk.Label('& Product UMC180FDKMFM', (-4.98,-7.93), layer=63, texttype=63))
mux_x16.add(gdstk.Label('& Version A01', (-4.98,-7.93), layer=63, texttype=63))
mux_x16.add(gdstk.Label('& Metric 0', (-4.98,-7.93), layer=63, texttype=63))
mux_x16.add(gdstk.Label('& _PublicCode', (-4.98,-7.93), layer=63, texttype=63))
mux_x16.add(gdstk.Label('O', (12.24,-6.94), layer=103, texttype=0))
mux_x16.add(gdstk.Label('A', (6.06,-10.615), layer=103, texttype=0))
mux_x16.add(gdstk.Label('VDD', (4.74,-14.1), layer=101, texttype=0))
mux_x16.add(gdstk.Label('e', (-5.51,-4.01), layer=103, texttype=0))
mux_x16.add(gdstk.Label('s', (-8.52,-4.58), layer=103, texttype=0))
mux_x16.add(gdstk.Label('B', (6.06,-3.28), layer=103, texttype=0))
mux_x16.add(gdstk.Label('VSS', (4.74,-6.94), layer=101, texttype=0))
mux_x16.add(gdstk.Label('VDD', (4.74,0.22), layer=101, texttype=0))

lib.write_gds('mux_X16.gds')
